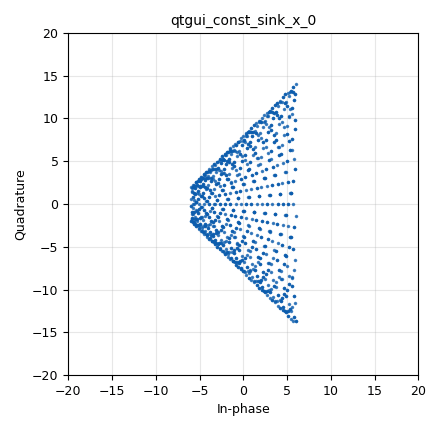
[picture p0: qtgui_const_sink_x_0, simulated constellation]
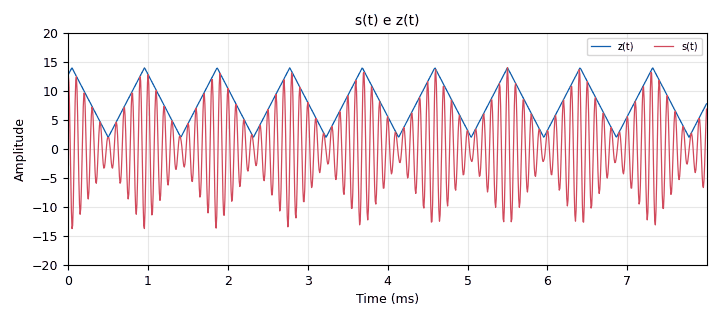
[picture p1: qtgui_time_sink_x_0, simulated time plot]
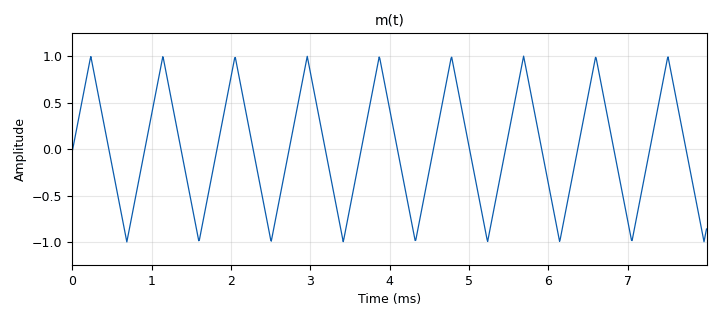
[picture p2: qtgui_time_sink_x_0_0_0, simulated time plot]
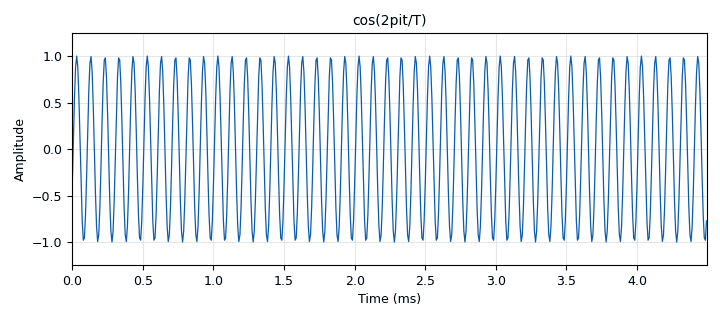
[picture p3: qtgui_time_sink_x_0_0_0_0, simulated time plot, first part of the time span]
<?xml version='1.0' encoding='utf-8'?>
<?grc format='1' created='3.7.9'?>
<flow_graph>
<block>
<key>options</key>
<param><key>id</key><value>top_block</value></param>
<param><key>category</key><value>Custom</value></param>
<param><key>generate_options</key><value>qt_gui</value></param>
</block>
<block>
<key>variable_qtgui_range</key>
<param><key>id</key><value>k_a</value></param>
<param><key>value</key><value>6</value></param>
<param><key>orient</key><value>Qt.Horizontal</value></param>
<param><key>start</key><value>0</value></param>
<param><key>step</key><value>1</value></param>
<param><key>stop</key><value>12</value></param>
</block>
<block>
<key>variable</key>
<param><key>id</key><value>samp_rate</value></param>
<param><key>value</key><value>128000</value></param>
</block>
<block>
<key>qtgui_tab_widget</key>
<param><key>id</key><value>aba</value></param>
<param><key>label0</key><value>m(t)</value></param>
<param><key>label1</key><value>s(t) e z(t)</value></param>
<param><key>label2</key><value>cos(2pit/T)</value></param>
<param><key>label3</key><value>Constellation</value></param>
<param><key>num_tabs</key><value>4</value></param>
</block>
<block>
<key>analog_sig_source_x</key>
<param><key>id</key><value>analog_sig_source_x_0</value></param>
<param><key>amp</key><value>2</value></param>
<param><key>freq</key><value>1100</value></param>
<param><key>offset</key><value>-1</value></param>
<param><key>type</key><value>float</value></param>
<param><key>samp_rate</key><value>samp_rate</value></param>
<param><key>waveform</key><value>analog.GR_TRI_WAVE</value></param>
</block>
<block>
<key>analog_sig_source_x</key>
<param><key>id</key><value>analog_sig_source_x_0_1</value></param>
<param><key>amp</key><value>1</value></param>
<param><key>freq</key><value>10000</value></param>
<param><key>offset</key><value>0</value></param>
<param><key>type</key><value>float</value></param>
<param><key>samp_rate</key><value>samp_rate</value></param>
<param><key>waveform</key><value>analog.GR_COS_WAVE</value></param>
</block>
<block>
<key>blocks_add_const_vxx</key>
<param><key>id</key><value>blocks_add_const_vxx_0</value></param>
<param><key>const</key><value>8</value></param>
<param><key>type</key><value>float</value></param>
</block>
<block>
<key>blocks_float_to_complex</key>
<param><key>id</key><value>blocks_float_to_complex_0</value></param>
</block>
<block>
<key>blocks_multiply_const_vxx</key>
<param><key>id</key><value>blocks_multiply_const_vxx_0</value></param>
<param><key>const</key><value>k_a</value></param>
<param><key>type</key><value>float</value></param>
</block>
<block>
<key>blocks_multiply_xx</key>
<param><key>id</key><value>blocks_multiply_xx_0</value></param>
<param><key>type</key><value>float</value></param>
</block>
<block>
<key>blocks_throttle</key>
<param><key>id</key><value>blocks_throttle_0</value></param>
<param><key>samples_per_second</key><value>samp_rate</value></param>
<param><key>type</key><value>float</value></param>
</block>
<block>
<key>blocks_throttle</key>
<param><key>id</key><value>blocks_throttle_0_0</value></param>
<param><key>samples_per_second</key><value>samp_rate</value></param>
<param><key>type</key><value>float</value></param>
</block>
<block>
<key>blocks_throttle</key>
<param><key>id</key><value>blocks_throttle_0_0_0</value></param>
<param><key>samples_per_second</key><value>samp_rate</value></param>
<param><key>type</key><value>float</value></param>
</block>
<block>
<key>blocks_throttle</key>
<param><key>id</key><value>blocks_throttle_0_0_0_0</value></param>
<param><key>samples_per_second</key><value>samp_rate</value></param>
<param><key>type</key><value>float</value></param>
</block>
<block>
<key>qtgui_const_sink_x</key>
<param><key>id</key><value>qtgui_const_sink_x_0</value></param>
<param><key>gui_hint</key><value>aba@3</value></param>
<param><key>grid</key><value>True</value></param>
<param><key>size</key><value>1024</value></param>
<param><key>type</key><value>complex</value></param>
<param><key>xmax</key><value>20</value></param>
<param><key>xmin</key><value>-20</value></param>
<param><key>ymax</key><value>20</value></param>
<param><key>ymin</key><value>-20</value></param>
</block>
<block>
<key>qtgui_time_sink_x</key>
<param><key>id</key><value>qtgui_time_sink_x_0</value></param>
<param><key>ctrlpanel</key><value>True</value></param>
<param><key>gui_hint</key><value>aba@1</value></param>
<param><key>grid</key><value>True</value></param>
<param><key>color1</key><value>"Dark Blue"</value></param>
<param><key>label1</key><value>z(t)</value></param>
<param><key>color2</key><value>"dark red"</value></param>
<param><key>label2</key><value>s(t)</value></param>
<param><key>name</key><value>"s(t) e z(t)"</value></param>
<param><key>nconnections</key><value>2</value></param>
<param><key>size</key><value>1024</value></param>
<param><key>srate</key><value>samp_rate</value></param>
<param><key>tr_mode</key><value>qtgui.TRIG_MODE_AUTO</value></param>
<param><key>type</key><value>float</value></param>
<param><key>ymax</key><value>20</value></param>
<param><key>ymin</key><value>-20</value></param>
</block>
<block>
<key>qtgui_time_sink_x</key>
<param><key>id</key><value>qtgui_time_sink_x_0_0_0</value></param>
<param><key>ctrlpanel</key><value>True</value></param>
<param><key>gui_hint</key><value>aba@0</value></param>
<param><key>grid</key><value>True</value></param>
<param><key>color1</key><value>"blue"</value></param>
<param><key>label1</key><value></value></param>
<param><key>name</key><value>"m(t)"</value></param>
<param><key>size</key><value>1024</value></param>
<param><key>srate</key><value>samp_rate</value></param>
<param><key>tr_mode</key><value>qtgui.TRIG_MODE_AUTO</value></param>
<param><key>type</key><value>float</value></param>
<param><key>ymax</key><value>1.25</value></param>
<param><key>ymin</key><value>-1.25</value></param>
</block>
<block>
<key>qtgui_time_sink_x</key>
<param><key>id</key><value>qtgui_time_sink_x_0_0_0_0</value></param>
<param><key>ctrlpanel</key><value>True</value></param>
<param><key>gui_hint</key><value>aba@2</value></param>
<param><key>grid</key><value>True</value></param>
<param><key>color1</key><value>"green"</value></param>
<param><key>label1</key><value></value></param>
<param><key>name</key><value>"cos(2pit/T)"</value></param>
<param><key>size</key><value>1024</value></param>
<param><key>srate</key><value>samp_rate</value></param>
<param><key>tr_mode</key><value>qtgui.TRIG_MODE_AUTO</value></param>
<param><key>type</key><value>float</value></param>
<param><key>ymax</key><value>1.25</value></param>
<param><key>ymin</key><value>-1.25</value></param>
</block>
<connection><source_block_id>analog_sig_source_x_0</source_block_id><sink_block_id>blocks_multiply_const_vxx_0</sink_block_id><source_key>0</source_key><sink_key>0</sink_key></connection>
<connection><source_block_id>analog_sig_source_x_0</source_block_id><sink_block_id>blocks_throttle_0_0_0</sink_block_id><source_key>0</source_key><sink_key>0</sink_key></connection>
<connection><source_block_id>analog_sig_source_x_0_1</source_block_id><sink_block_id>blocks_multiply_xx_0</sink_block_id><source_key>0</source_key><sink_key>1</sink_key></connection>
<connection><source_block_id>analog_sig_source_x_0_1</source_block_id><sink_block_id>blocks_throttle_0_0_0_0</sink_block_id><source_key>0</source_key><sink_key>0</sink_key></connection>
<connection><source_block_id>blocks_add_const_vxx_0</source_block_id><sink_block_id>blocks_multiply_xx_0</sink_block_id><source_key>0</source_key><sink_key>0</sink_key></connection>
<connection><source_block_id>blocks_add_const_vxx_0</source_block_id><sink_block_id>blocks_throttle_0_0</sink_block_id><source_key>0</source_key><sink_key>0</sink_key></connection>
<connection><source_block_id>blocks_float_to_complex_0</source_block_id><sink_block_id>qtgui_const_sink_x_0</sink_block_id><source_key>0</source_key><sink_key>0</sink_key></connection>
<connection><source_block_id>blocks_multiply_const_vxx_0</source_block_id><sink_block_id>blocks_add_const_vxx_0</sink_block_id><source_key>0</source_key><sink_key>0</sink_key></connection>
<connection><source_block_id>blocks_multiply_const_vxx_0</source_block_id><sink_block_id>blocks_float_to_complex_0</sink_block_id><source_key>0</source_key><sink_key>0</sink_key></connection>
<connection><source_block_id>blocks_multiply_xx_0</source_block_id><sink_block_id>blocks_float_to_complex_0</sink_block_id><source_key>0</source_key><sink_key>1</sink_key></connection>
<connection><source_block_id>blocks_multiply_xx_0</source_block_id><sink_block_id>blocks_throttle_0</sink_block_id><source_key>0</source_key><sink_key>0</sink_key></connection>
<connection><source_block_id>blocks_throttle_0</source_block_id><sink_block_id>qtgui_time_sink_x_0</sink_block_id><source_key>0</source_key><sink_key>1</sink_key></connection>
<connection><source_block_id>blocks_throttle_0_0</source_block_id><sink_block_id>qtgui_time_sink_x_0</sink_block_id><source_key>0</source_key><sink_key>0</sink_key></connection>
<connection><source_block_id>blocks_throttle_0_0_0</source_block_id><sink_block_id>qtgui_time_sink_x_0_0_0</sink_block_id><source_key>0</source_key><sink_key>0</sink_key></connection>
<connection><source_block_id>blocks_throttle_0_0_0_0</source_block_id><sink_block_id>qtgui_time_sink_x_0_0_0_0</sink_block_id><source_key>0</source_key><sink_key>0</sink_key></connection>
</flow_graph>
